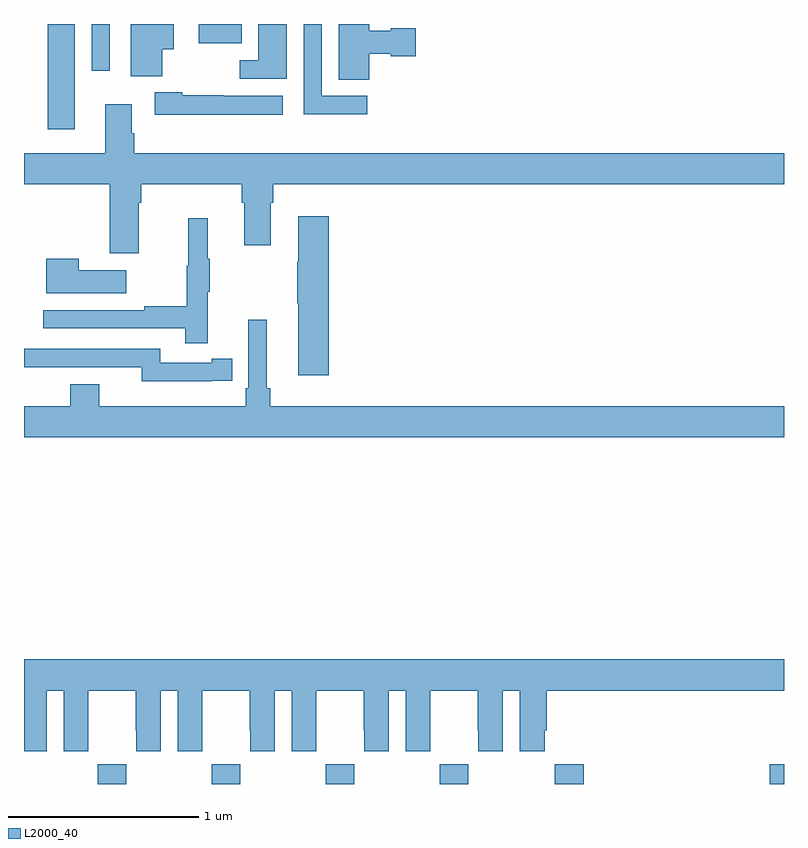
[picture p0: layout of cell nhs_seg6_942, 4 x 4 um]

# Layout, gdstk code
import gdstk
lib = gdstk.Library(unit=1e-6, precision=1e-09)
def R(c, l, rs):  # rectangles x0, y0, x1, y1
    for r in rs: c.add(gdstk.rectangle(r[:2], r[2:], *l))
def A(c, l, x, y, w, h, nx, ny, dx, dy):  # array of equal rectangles
    R(c, l, [(x+i*dx, y+j*dy, x+i*dx+w, y+j*dy+h) for i in range(nx) for j in range(ny)])
def P(c, l, *ps):  # polygons
    for p in ps: c.add(gdstk.Polygon(p, *l))
L2000_40 = (2000, 40)

nhs_seg6_942 = lib.new_cell('nhs_seg6_942')
A(nhs_seg6_942, L2000_40, 169.389, 957.5, 0.15, 0.104, 4, 1, 0.6, 0)
R(nhs_seg6_942, L2000_40, [(171.793,957.5,171.947,957.604), (172.925,957.5,173,957.604), (169.124,960.945,169.267,961.5), (169.356,961.254,169.452,961.5), (169.919,961.4,170.146,961.5)])
P(nhs_seg6_942, L2000_40, [(170.383,961.5),(170.234,961.5),(170.234,961.308),(170.136,961.308),(170.136,961.212),(170.383,961.212)],
  [(170.806,961.122),(170.568,961.122),(170.568,961.5),(170.472,961.5),(170.472,961.025),(170.806,961.025)],
  [(169.728,961.367),(169.789,961.367),(169.789,961.5),(169.562,961.5),(169.562,961.226),(169.728,961.226)],
  [(170.818,961.343),(170.931,961.343),(170.931,961.331),(171.061,961.331),(171.061,961.478),(170.931,961.478),(170.931,961.465),(170.818,961.465),(170.818,961.5),(170.657,961.5),(170.657,961.207),(170.818,961.207)],
  [(170.362,961.123),(170.048,961.123),(170.048,961.126),(169.833,961.126),(169.833,961.141),(169.689,961.141),(169.689,961.022),(170.362,961.022)],
  [(169.603,960.56),(169.616,960.56),(169.616,960.656),(170.147,960.656),(170.147,960.56),(170.159,960.56),(170.159,960.336),(170.299,960.336),(170.299,960.56),(170.312,960.56),(170.312,960.656),(173,960.656),(173,960.82),(169.58,960.82),(169.58,960.926),(169.567,960.926),(169.567,961.078),(169.427,961.078),(169.427,960.82),(169,960.82),(169,960.656),(169.451,960.656),(169.451,960.294),(169.603,960.294)],
  [(170.603,960.487),(170.444,960.487),(170.444,960.248),(170.437,960.248),(170.437,960.031),(170.444,960.031),(170.444,959.652),(170.603,959.652)],
  [(169.967,960.091),(169.978,960.091),(169.978,960.265),(169.967,960.265),(169.967,960.478),(169.864,960.478),(169.864,960.228),(169.857,960.228),(169.857,960.014),(169.633,960.014),(169.633,959.994),(169.101,959.994),(169.101,959.898),(169.849,959.898),(169.849,959.82),(169.967,959.82)],
  [(169.537,960.205),(169.289,960.205),(169.289,960.265),(169.118,960.265),(169.118,960.083),(169.537,960.083)],
  [(173,959.488),(170.297,959.488),(170.297,959.584),(170.278,959.584),(170.278,959.944),(170.181,959.944),(170.181,959.584),(170.168,959.584),(170.168,959.488),(169.396,959.488),(169.396,959.605),(169.244,959.605),(169.244,959.488),(169,959.488),(169,959.324),(173,959.324)],
  [(169.988,959.622),(170.096,959.622),(170.096,959.738),(169.988,959.738),(169.988,959.718),(169.716,959.718),(169.716,959.79),(169,959.79),(169,959.693),(169.16,959.693),(169.16,959.694),(169.62,959.694),(169.62,959.621),(169.988,959.621)],
  [(169.12,957.992),(169.208,957.992),(169.208,957.672),(169.338,957.672),(169.338,957.784),(169.339,957.784),(169.339,957.992),(169.589,957.992),(169.589,957.784),(169.59,957.784),(169.59,957.672),(169.72,957.672),(169.72,957.992),(169.808,957.992),(169.808,957.672),(169.938,957.672),(169.938,957.784),(169.939,957.784),(169.939,957.992),(170.189,957.992),(170.189,957.784),(170.19,957.784),(170.19,957.672),(170.32,957.672),(170.32,957.992),(170.408,957.992),(170.408,957.672),(170.538,957.672),(170.538,957.784),(170.539,957.784),(170.539,957.992),(170.789,957.992),(170.789,957.784),(170.79,957.784),(170.79,957.672),(170.92,957.672),(170.92,957.992),(171.008,957.992),(171.008,957.672),(171.138,957.672),(171.138,957.784),(171.139,957.784),(171.139,957.992),(171.389,957.992),(171.389,957.784),(171.39,957.784),(171.39,957.672),(171.52,957.672),(171.52,957.992),(171.608,957.992),(171.608,957.672),(171.742,957.672),(171.742,957.784),(171.752,957.784),(171.752,957.992),(173,957.992),(173,958.156),(169,958.156),(169,957.672),(169.12,957.672)])

lib.write_gds('nhs_seg6_942.gds')
